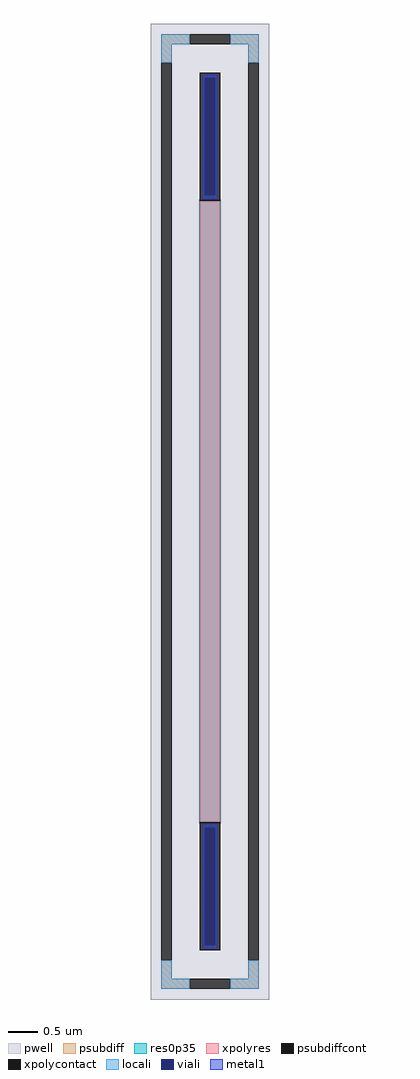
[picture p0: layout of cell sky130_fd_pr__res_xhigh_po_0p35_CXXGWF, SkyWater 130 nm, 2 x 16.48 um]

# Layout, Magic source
magic
tech sky130A
<< pwell >>
rect -100 -824 100 824
<< psubdiff >>
rect -82 789 -34 806
rect 34 789 82 806
rect -82 758 -65 789
rect 65 758 82 789
rect -82 -789 -65 -758
rect 65 -789 82 -758
rect -82 -806 -34 -789
rect 34 -806 82 -789
<< psubdiffcont >>
rect -34 789 34 806
rect -82 -758 -65 758
rect 65 -758 82 758
rect -34 -806 34 -789
<< xpolycontact >>
rect -17 525 17 741
rect -17 -741 17 -525
<< xpolyres >>
rect -17 -525 17 525
<< locali >>
rect -82 789 -34 806
rect 34 789 82 806
rect -82 758 -65 789
rect 65 758 82 789
rect -82 -789 -65 -758
rect 65 -789 82 -758
rect -82 -806 -34 -789
rect 34 -806 82 -789
<< viali >>
rect -9 533 9 732
rect -9 -732 9 -533
<< metal1 >>
rect -12 732 12 738
rect -12 533 -9 732
rect 9 533 12 732
rect -12 527 12 533
rect -12 -533 12 -527
rect -12 -732 -9 -533
rect 9 -732 12 -533
rect -12 -738 12 -732
<< res0p35 >>
rect -18 -526 18 526
<< properties >>
string FIXED_BBOX -74 -797 74 797
string gencell sky130_fd_pr__res_xhigh_po_0p35
string library sky130
string parameters w 0.350 l 10.5 m 1 nx 1 wmin 0.350 lmin 0.50 rho 2000 val 61.075k dummy 0 dw 0.0 term 188.2 sterm 0.0 caplen 0 wmax 0.350 guard 1 glc 1 grc 1 gtc 1 gbc 1 compatible {sky130_fd_pr__res_xhigh_po_0p35  sky130_fd_pr__res_xhigh_po_0p69 sky130_fd_pr__res_xhigh_po_1p41  sky130_fd_pr__res_xhigh_po_2p85 sky130_fd_pr__res_xhigh_po_5p73} snake 0 full_metal 1 n_guard 0 hv_guard 0 vias 1 viagb 0 viagt 0 viagl 0 viagr 0
<< end >>
